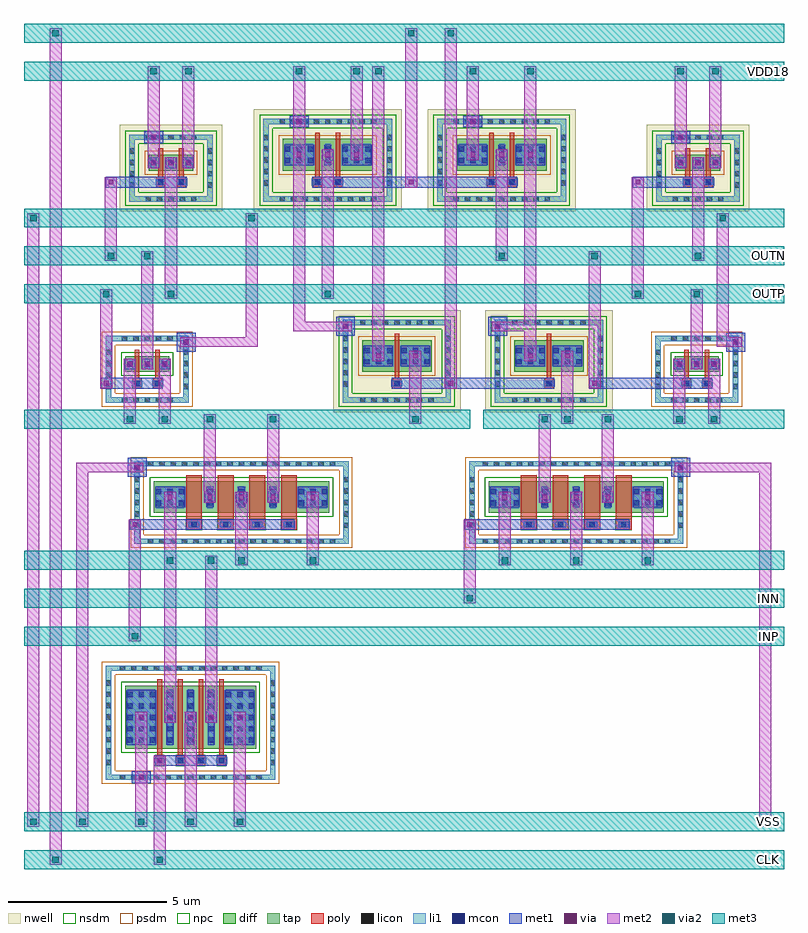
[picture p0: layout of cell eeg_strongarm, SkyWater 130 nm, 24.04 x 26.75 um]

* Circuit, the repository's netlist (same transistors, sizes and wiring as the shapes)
* Extracted by KLayout with SKY130 LVS runset on : 05/09/2026 16:00

.SUBCKT eeg_strongarm CLK INN INP OUTN OUTP VDD18 VSS
M$1 VDD18 CLK OUTP VDD18 sky130_fd_pr__pfet_01v8 L=0.15 W=2 AS=1.27 AD=1.27
+ PS=5.54 PD=5.54
M$3 VDD18 CLK \$9 VDD18 sky130_fd_pr__pfet_01v8 L=0.15 W=1 AS=1.02 AD=1.02
+ PS=4.04 PD=4.04
M$4 VDD18 CLK OUTN VDD18 sky130_fd_pr__pfet_01v8 L=0.15 W=2 AS=1.27 AD=1.27
+ PS=5.54 PD=5.54
M$6 VDD18 OUTP OUTN VDD18 sky130_fd_pr__pfet_01v8 L=0.15 W=1 AS=0.275 AD=0.275
+ PS=2.6 PD=2.6
M$8 VDD18 OUTN OUTP VDD18 sky130_fd_pr__pfet_01v8 L=0.15 W=1 AS=0.275 AD=0.275
+ PS=2.6 PD=2.6
M$10 VDD18 CLK \$10 VDD18 sky130_fd_pr__pfet_01v8 L=0.15 W=1 AS=1.02 AD=1.02
+ PS=4.04 PD=4.04
M$11 \$10 OUTN OUTP VSS sky130_fd_pr__nfet_01v8 L=0.15 W=1 AS=0.275 AD=0.275
+ PS=2.6 PD=2.6
M$13 \$4 INP \$9 VSS sky130_fd_pr__nfet_01v8 L=0.5 W=4 AS=1.77 AD=1.77 PS=8.54
+ PD=8.54
M$17 \$9 OUTP OUTN VSS sky130_fd_pr__nfet_01v8 L=0.15 W=1 AS=0.275 AD=0.275
+ PS=2.6 PD=2.6
M$19 \$4 INN \$10 VSS sky130_fd_pr__nfet_01v8 L=0.5 W=4 AS=1.77 AD=1.77 PS=8.54
+ PD=8.54
M$23 VSS CLK \$4 VSS sky130_fd_pr__nfet_01v8 L=0.15 W=8 AS=3.54 AD=3.54
+ PS=13.54 PD=13.54
.ENDS eeg_strongarm

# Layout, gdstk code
import gdstk
lib = gdstk.Library(unit=1e-6, precision=1e-09)
def R(c, l, rs):  # rectangles x0, y0, x1, y1
    for r in rs: c.add(gdstk.rectangle(r[:2], r[2:], *l))
def A(c, l, x, y, w, h, nx, ny, dx, dy):  # array of equal rectangles
    R(c, l, [(x+i*dx, y+j*dy, x+i*dx+w, y+j*dy+h) for i in range(nx) for j in range(ny)])
def P(c, l, *ps):  # polygons
    for p in ps: c.add(gdstk.Polygon(p, *l))
nwell = (64, 20)
diff = (65, 20)
tap = (65, 44)
poly = (66, 20)
licon = (66, 44)
li1 = (67, 20)
mcon = (67, 44)
met1 = (68, 20)
via = (68, 44)
met2 = (69, 20)
via2 = (69, 44)
met3 = (70, 20)
nsdm = (93, 44)
psdm = (94, 20)
npc = (95, 20)

sa_m0 = lib.new_cell('sa_m0')
R(sa_m0, diff, [(0,0,4.14,2)])
P(sa_m0, tap, [(-0.615,-0.98),(-0.615,2.47),(-0.445,2.47),(-0.445,-0.81),(4.585,-0.81),(4.585,2.47),(-0.615,2.47),(-0.615,2.64),(4.755,2.64),(4.755,-0.98)])
A(sa_m0, poly, 0.96, -0.53, 0.27, 0.33, 4, 1, 0.65, 0)
A(sa_m0, poly, 1.02, -0.2, 0.15, 2.4, 4, 1, 0.65, 0)
A(sa_m0, licon, -0.175, -0.98, 0.17, 0.17, 13, 2, 0.36, 3.45)
A(sa_m0, licon, -0.615, -0.515, 0.17, 0.17, 1, 8, 0, 0.36)
A(sa_m0, licon, 4.585, -0.515, 0.17, 0.17, 1, 8, 0, 0.36)
A(sa_m0, licon, 1.01, -0.45, 0.17, 0.17, 4, 1, 0.65, 0)
A(sa_m0, licon, 0.065, 0.195, 0.17, 0.17, 3, 5, 0.36, 0.36)
A(sa_m0, licon, 1.335, 0.195, 0.17, 0.17, 3, 5, 0.65, 0.36)
A(sa_m0, licon, 3.185, 0.195, 0.17, 0.17, 3, 5, 0.36, 0.36)
A(sa_m0, li1, 0.93, -0.45, 0.33, 0.17, 4, 1, 0.65, 0)
A(sa_m0, li1, 1.335, 0.115, 0.17, 1.77, 3, 1, 0.65, 0)
R(sa_m0, li1, [(0.065,0.115,0.955,1.885), (3.185,0.115,4.075,1.885)])
P(sa_m0, li1, [(-0.615,-0.98),(-0.615,2.47),(-0.445,2.47),(-0.445,-0.81),(4.585,-0.81),(4.585,2.47),(-0.615,2.47),(-0.615,2.64),(4.755,2.64),(4.755,-0.98)])
A(sa_m0, mcon, 1.01, -0.45, 0.17, 0.17, 4, 1, 0.65, 0)
A(sa_m0, mcon, 0.065, 0.195, 0.17, 0.17, 3, 5, 0.36, 0.36)
A(sa_m0, mcon, 1.335, 0.195, 0.17, 0.17, 3, 5, 0.65, 0.36)
A(sa_m0, mcon, 3.185, 0.195, 0.17, 0.17, 3, 5, 0.36, 0.36)
A(sa_m0, met1, 0.91, -0.48, 0.37, 0.23, 4, 1, 0.65, 0)
A(sa_m0, met1, 1.305, 0.135, 0.23, 1.73, 3, 1, 0.65, 0)
R(sa_m0, met1, [(0.035,0.135,0.985,1.865), (3.155,0.135,4.105,1.865)])
R(sa_m0, nsdm, [(-0.125,-0.125,4.265,2.125)])
P(sa_m0, psdm, [(-0.74,-1.105),(-0.74,2.345),(-0.32,2.345),(-0.32,-0.685),(4.46,-0.685),(4.46,2.345),(-0.74,2.345),(-0.74,2.765),(4.88,2.765),(4.88,-1.105)])
A(sa_m0, npc, 0.95, -0.54, 0.29, 0.35, 4, 1, 0.65, 0)

sa_m1 = lib.new_cell('sa_m1')
R(sa_m1, diff, [(0,0,5.54,1)])
P(sa_m1, tap, [(-0.615,-0.98),(-0.615,1.47),(-0.445,1.47),(-0.445,-0.81),(5.985,-0.81),(5.985,1.47),(-0.615,1.47),(-0.615,1.64),(6.155,1.64),(6.155,-0.98)])
A(sa_m1, poly, 1.02, -0.53, 0.5, 0.33, 4, 1, 1, 0)
A(sa_m1, poly, 1.02, -0.2, 0.5, 1.4, 4, 1, 1, 0)
A(sa_m1, licon, -0.195, -0.98, 0.17, 0.17, 17, 2, 0.36, 2.45)
A(sa_m1, licon, -0.615, -0.475, 0.17, 0.17, 1, 5, 0, 0.36)
A(sa_m1, licon, 5.985, -0.475, 0.17, 0.17, 1, 5, 0, 0.36)
A(sa_m1, licon, 1.185, -0.45, 0.17, 0.17, 4, 1, 1, 0)
A(sa_m1, licon, 0.065, 0.235, 0.17, 0.17, 3, 2, 0.36, 0.36)
A(sa_m1, licon, 1.685, 0.235, 0.17, 0.17, 3, 2, 1, 0.36)
A(sa_m1, licon, 4.585, 0.235, 0.17, 0.17, 3, 2, 0.36, 0.36)
A(sa_m1, li1, 1.105, -0.45, 0.33, 0.17, 4, 1, 1, 0)
A(sa_m1, li1, 1.685, 0.155, 0.17, 0.69, 3, 1, 1, 0)
R(sa_m1, li1, [(0.065,0.155,0.955,0.845), (4.585,0.155,5.475,0.845)])
P(sa_m1, li1, [(-0.615,-0.98),(-0.615,1.47),(-0.445,1.47),(-0.445,-0.81),(5.985,-0.81),(5.985,1.47),(-0.615,1.47),(-0.615,1.64),(6.155,1.64),(6.155,-0.98)])
A(sa_m1, mcon, 1.185, -0.45, 0.17, 0.17, 4, 1, 1, 0)
A(sa_m1, mcon, 0.065, 0.235, 0.17, 0.17, 3, 2, 0.36, 0.36)
A(sa_m1, mcon, 1.685, 0.235, 0.17, 0.17, 3, 2, 1, 0.36)
A(sa_m1, mcon, 4.585, 0.235, 0.17, 0.17, 3, 2, 0.36, 0.36)
A(sa_m1, met1, 1.085, -0.48, 0.37, 0.23, 4, 1, 1, 0)
A(sa_m1, met1, 1.655, 0.175, 0.23, 0.65, 3, 1, 1, 0)
R(sa_m1, met1, [(0.035,0.175,0.985,0.825), (4.555,0.175,5.505,0.825)])
R(sa_m1, nsdm, [(-0.125,-0.125,5.665,1.125)])
P(sa_m1, psdm, [(-0.74,-1.105),(-0.74,1.345),(-0.32,1.345),(-0.32,-0.685),(5.86,-0.685),(5.86,1.345),(-0.74,1.345),(-0.74,1.765),(6.28,1.765),(6.28,-1.105)])
A(sa_m1, npc, 1.01, -0.54, 0.52, 0.35, 4, 1, 1, 0)

sa_m5 = lib.new_cell('sa_m5')
R(sa_m5, nwell, [(-0.92,-1.285,2.32,1.445)])
R(sa_m5, diff, [(0,0,1.4,0.5)])
P(sa_m5, tap, [(-0.615,-0.98),(-0.615,0.97),(-0.445,0.97),(-0.445,-0.81),(1.845,-0.81),(1.845,0.97),(-0.615,0.97),(-0.615,1.14),(2.015,1.14),(2.015,-0.98)])
R(sa_m5, poly, [(0.24,-0.53,0.51,-0.2), (0.89,-0.53,1.16,-0.2), (0.3,-0.2,0.45,0.7), (0.95,-0.2,1.1,0.7)])
A(sa_m5, licon, -0.105, -0.98, 0.17, 0.17, 5, 2, 0.36, 1.95)
A(sa_m5, licon, -0.615, -0.545, 0.17, 0.17, 1, 4, 0, 0.36)
A(sa_m5, licon, 1.845, -0.545, 0.17, 0.17, 1, 4, 0, 0.36)
A(sa_m5, licon, 0.065, 0.165, 0.17, 0.17, 3, 1, 0.55, 0)
R(sa_m5, licon, [(0.29,-0.45,0.46,-0.28), (0.94,-0.45,1.11,-0.28)])
A(sa_m5, li1, 0.065, 0.085, 0.17, 0.33, 3, 1, 0.55, 0)
R(sa_m5, li1, [(0.21,-0.45,0.54,-0.28), (0.86,-0.45,1.19,-0.28)])
P(sa_m5, li1, [(-0.615,-0.98),(-0.615,0.97),(-0.445,0.97),(-0.445,-0.81),(1.845,-0.81),(1.845,0.97),(-0.615,0.97),(-0.615,1.14),(2.015,1.14),(2.015,-0.98)])
A(sa_m5, mcon, 0.065, 0.165, 0.17, 0.17, 3, 1, 0.55, 0)
R(sa_m5, mcon, [(0.29,-0.45,0.46,-0.28), (0.94,-0.45,1.11,-0.28)])
A(sa_m5, met1, 0.005, 0.105, 0.29, 0.29, 3, 1, 0.55, 0)
R(sa_m5, met1, [(0.19,-0.48,0.56,-0.25), (0.84,-0.48,1.21,-0.25)])
P(sa_m5, nsdm, [(-0.74,-1.105),(-0.74,0.845),(-0.32,0.845),(-0.32,-0.685),(1.72,-0.685),(1.72,0.845),(-0.74,0.845),(-0.74,1.265),(2.14,1.265),(2.14,-1.105)])
R(sa_m5, psdm, [(-0.125,-0.125,1.525,0.625)])
R(sa_m5, npc, [(0.23,-0.54,0.52,-0.19), (0.88,-0.54,1.17,-0.19)])

sa_m7 = lib.new_cell('sa_m7')
R(sa_m7, nwell, [(-0.92,-1.285,3.76,1.945)])
R(sa_m7, diff, [(0,0,2.84,1)])
P(sa_m7, tap, [(-0.615,-0.98),(-0.615,1.47),(-0.445,1.47),(-0.445,-0.81),(3.285,-0.81),(3.285,1.47),(-0.615,1.47),(-0.615,1.64),(3.455,1.64),(3.455,-0.98)])
R(sa_m7, poly, [(0.96,-0.53,1.23,-0.2), (1.61,-0.53,1.88,-0.2), (1.02,-0.2,1.17,1.2), (1.67,-0.2,1.82,1.2)])
A(sa_m7, licon, -0.105, -0.98, 0.17, 0.17, 9, 2, 0.36, 2.45)
A(sa_m7, licon, -0.615, -0.475, 0.17, 0.17, 1, 5, 0, 0.36)
A(sa_m7, licon, 3.285, -0.475, 0.17, 0.17, 1, 5, 0, 0.36)
A(sa_m7, licon, 0.065, 0.235, 0.17, 0.17, 3, 2, 0.36, 0.36)
A(sa_m7, licon, 1.885, 0.235, 0.17, 0.17, 3, 2, 0.36, 0.36)
R(sa_m7, licon, [(1.01,-0.45,1.18,-0.28), (1.66,-0.45,1.83,-0.28), (1.335,0.235,1.505,0.405), (1.335,0.595,1.505,0.765)])
R(sa_m7, li1, [(0.93,-0.45,1.26,-0.28), (1.58,-0.45,1.91,-0.28), (0.065,0.155,0.955,0.845), (1.335,0.155,1.505,0.845), (1.885,0.155,2.775,0.845)])
P(sa_m7, li1, [(-0.615,-0.98),(-0.615,1.47),(-0.445,1.47),(-0.445,-0.81),(3.285,-0.81),(3.285,1.47),(-0.615,1.47),(-0.615,1.64),(3.455,1.64),(3.455,-0.98)])
A(sa_m7, mcon, 0.065, 0.235, 0.17, 0.17, 3, 2, 0.36, 0.36)
A(sa_m7, mcon, 1.885, 0.235, 0.17, 0.17, 3, 2, 0.36, 0.36)
R(sa_m7, mcon, [(1.01,-0.45,1.18,-0.28), (1.66,-0.45,1.83,-0.28), (1.335,0.235,1.505,0.405), (1.335,0.595,1.505,0.765)])
R(sa_m7, met1, [(0.91,-0.48,1.28,-0.25), (1.56,-0.48,1.93,-0.25), (0.035,0.175,0.985,0.825), (1.305,0.175,1.535,0.825), (1.855,0.175,2.805,0.825)])
P(sa_m7, nsdm, [(-0.74,-1.105),(-0.74,1.345),(-0.32,1.345),(-0.32,-0.685),(3.16,-0.685),(3.16,1.345),(-0.74,1.345),(-0.74,1.765),(3.58,1.765),(3.58,-1.105)])
R(sa_m7, psdm, [(-0.125,-0.125,2.965,1.125)])
R(sa_m7, npc, [(0.95,-0.54,1.24,-0.19), (1.6,-0.54,1.89,-0.19)])

sa_m3 = lib.new_cell('sa_m3')
R(sa_m3, diff, [(0,0,1.4,0.5)])
P(sa_m3, tap, [(-0.615,-0.98),(-0.615,0.97),(-0.445,0.97),(-0.445,-0.81),(1.845,-0.81),(1.845,0.97),(-0.615,0.97),(-0.615,1.14),(2.015,1.14),(2.015,-0.98)])
R(sa_m3, poly, [(0.24,-0.53,0.51,-0.2), (0.89,-0.53,1.16,-0.2), (0.3,-0.2,0.45,0.7), (0.95,-0.2,1.1,0.7)])
A(sa_m3, licon, -0.105, -0.98, 0.17, 0.17, 5, 2, 0.36, 1.95)
A(sa_m3, licon, -0.615, -0.545, 0.17, 0.17, 1, 4, 0, 0.36)
A(sa_m3, licon, 1.845, -0.545, 0.17, 0.17, 1, 4, 0, 0.36)
A(sa_m3, licon, 0.065, 0.165, 0.17, 0.17, 3, 1, 0.55, 0)
R(sa_m3, licon, [(0.29,-0.45,0.46,-0.28), (0.94,-0.45,1.11,-0.28)])
A(sa_m3, li1, 0.065, 0.085, 0.17, 0.33, 3, 1, 0.55, 0)
R(sa_m3, li1, [(0.21,-0.45,0.54,-0.28), (0.86,-0.45,1.19,-0.28)])
P(sa_m3, li1, [(-0.615,-0.98),(-0.615,0.97),(-0.445,0.97),(-0.445,-0.81),(1.845,-0.81),(1.845,0.97),(-0.615,0.97),(-0.615,1.14),(2.015,1.14),(2.015,-0.98)])
A(sa_m3, mcon, 0.065, 0.165, 0.17, 0.17, 3, 1, 0.55, 0)
R(sa_m3, mcon, [(0.29,-0.45,0.46,-0.28), (0.94,-0.45,1.11,-0.28)])
A(sa_m3, met1, 0.005, 0.105, 0.29, 0.29, 3, 1, 0.55, 0)
R(sa_m3, met1, [(0.19,-0.48,0.56,-0.25), (0.84,-0.48,1.21,-0.25)])
R(sa_m3, nsdm, [(-0.125,-0.125,1.525,0.625)])
P(sa_m3, psdm, [(-0.74,-1.105),(-0.74,0.845),(-0.32,0.845),(-0.32,-0.685),(1.72,-0.685),(1.72,0.845),(-0.74,0.845),(-0.74,1.265),(2.14,1.265),(2.14,-1.105)])
R(sa_m3, npc, [(0.23,-0.54,0.52,-0.19), (0.88,-0.54,1.17,-0.19)])

sa_m9 = lib.new_cell('sa_m9')
R(sa_m9, nwell, [(-0.92,-1.285,3.11,1.945)])
R(sa_m9, diff, [(0,0,2.19,1)])
P(sa_m9, tap, [(-0.615,-0.98),(-0.615,1.47),(-0.445,1.47),(-0.445,-0.81),(2.635,-0.81),(2.635,1.47),(-0.615,1.47),(-0.615,1.64),(2.805,1.64),(2.805,-0.98)])
R(sa_m9, poly, [(0.96,-0.53,1.23,-0.2), (1.02,-0.2,1.17,1.2)])
A(sa_m9, licon, -0.07, -0.98, 0.17, 0.17, 7, 2, 0.36, 2.45)
A(sa_m9, licon, -0.615, -0.475, 0.17, 0.17, 1, 5, 0, 0.36)
A(sa_m9, licon, 2.635, -0.475, 0.17, 0.17, 1, 5, 0, 0.36)
A(sa_m9, licon, 0.065, 0.235, 0.17, 0.17, 3, 2, 0.36, 0.36)
A(sa_m9, licon, 1.235, 0.235, 0.17, 0.17, 3, 2, 0.36, 0.36)
R(sa_m9, licon, [(1.01,-0.45,1.18,-0.28)])
R(sa_m9, li1, [(0.93,-0.45,1.26,-0.28), (0.065,0.155,0.955,0.845), (1.235,0.155,2.125,0.845)])
P(sa_m9, li1, [(-0.615,-0.98),(-0.615,1.47),(-0.445,1.47),(-0.445,-0.81),(2.635,-0.81),(2.635,1.47),(-0.615,1.47),(-0.615,1.64),(2.805,1.64),(2.805,-0.98)])
A(sa_m9, mcon, 0.065, 0.235, 0.17, 0.17, 3, 2, 0.36, 0.36)
A(sa_m9, mcon, 1.235, 0.235, 0.17, 0.17, 3, 2, 0.36, 0.36)
R(sa_m9, mcon, [(1.01,-0.45,1.18,-0.28)])
R(sa_m9, met1, [(0.91,-0.48,1.28,-0.25), (0.035,0.175,0.985,0.825), (1.205,0.175,2.155,0.825)])
P(sa_m9, nsdm, [(-0.74,-1.105),(-0.74,1.345),(-0.32,1.345),(-0.32,-0.685),(2.51,-0.685),(2.51,1.345),(-0.74,1.345),(-0.74,1.765),(2.93,1.765),(2.93,-1.105)])
R(sa_m9, psdm, [(-0.125,-0.125,2.315,1.125)])
R(sa_m9, npc, [(0.95,-0.54,1.24,-0.19)])

eeg_strongarm = lib.new_cell('eeg_strongarm')
R(eeg_strongarm, mcon, [(0.425,-0.98,0.595,-0.81), (0.295,8.82,0.465,8.99), (17.485,8.82,17.655,8.99), (1.845,12.785,2.015,12.955), (19.225,12.785,19.395,12.955), (6.885,13.285,7.055,13.455), (11.695,13.285,11.865,13.455), (0.815,19.265,0.985,19.435), (17.485,19.265,17.655,19.435), (5.415,19.765,5.585,19.935), (10.915,19.765,11.085,19.935)])
A(eeg_strongarm, met1, 1.25, 0.83, 0.34, 0.34, 3, 1, 0.65, 0)
A(eeg_strongarm, met1, 2.51, 7.795, 0.34, 0.34, 3, 1, 1, 0)
A(eeg_strongarm, met1, 13.1, 7.795, 0.34, 0.34, 3, 1, 1, 0)
A(eeg_strongarm, met1, -0.02, 12.01, 0.34, 0.34, 3, 1, 0.55, 0)
A(eeg_strongarm, met1, 17.36, 12.01, 0.34, 0.34, 3, 1, 0.55, 0)
A(eeg_strongarm, met1, 0.73, 18.375, 0.34, 0.34, 3, 1, 0.55, 0)
A(eeg_strongarm, met1, 17.4, 18.375, 0.34, 0.34, 3, 1, 0.55, 0)
A(eeg_strongarm, met1, 5.33, 18.625, 0.34, 0.34, 3, 1, 0.91, 0)
A(eeg_strongarm, met1, 10.83, 18.625, 0.34, 0.34, 3, 1, 0.91, 0)
R(eeg_strongarm, met1, [(0.21,-1.08,0.81,-0.71), (0.34,-1.065,0.68,-0.725), (0.925,-0.535,3.215,-0.195), (0.34,0.83,0.68,1.17), (3.46,0.83,3.8,1.17), (0.14,6.93,5.35,7.27), (10.73,6.93,15.94,7.27), (1.25,7.795,1.59,8.135), (5.77,7.795,6.11,8.135), (11.84,7.795,12.18,8.135), (16.36,7.795,16.7,8.135), (0.08,8.605,0.68,9.205), (17.27,8.605,17.87,9.205), (-0.77,11.395,1.195,11.735), (8.425,11.395,10.47,11.735), (10.13,11.395,13.575,11.735), (14.68,11.395,18.575,11.735), (7.84,12.26,8.18,12.6), (9.01,12.26,9.35,12.6), (12.65,12.26,12.99,12.6), (13.82,12.26,14.16,12.6), (1.63,12.57,2.23,13.17), (19.01,12.57,19.61,13.17), (6.67,13.07,7.27,13.67), (11.48,13.07,12.08,13.67), (-0.62,17.76,1.945,18.1), (5.915,17.76,9.22,18.1), (8.88,17.76,12.405,18.1), (16.05,17.76,18.615,18.1), (0.6,19.165,1.2,19.535), (17.27,19.165,17.87,19.535), (0.73,19.18,1.07,19.52), (17.4,19.18,17.74,19.52), (5.2,19.665,5.8,20.035), (10.7,19.665,11.3,20.035), (5.33,19.68,5.67,20.02), (10.83,19.68,11.17,20.02)])
A(eeg_strongarm, via, 1.345, 0.925, 0.15, 0.15, 3, 1, 0.65, 0)
A(eeg_strongarm, via, 2.605, 7.89, 0.15, 0.15, 3, 1, 1, 0)
A(eeg_strongarm, via, 13.195, 7.89, 0.15, 0.15, 3, 1, 1, 0)
A(eeg_strongarm, via, 0.075, 12.105, 0.15, 0.15, 3, 1, 0.55, 0)
A(eeg_strongarm, via, 17.455, 12.105, 0.15, 0.15, 3, 1, 0.55, 0)
A(eeg_strongarm, via, 0.825, 18.47, 0.15, 0.15, 3, 1, 0.55, 0)
A(eeg_strongarm, via, 17.495, 18.47, 0.15, 0.15, 3, 1, 0.55, 0)
A(eeg_strongarm, via, 5.425, 18.72, 0.15, 0.15, 3, 1, 0.91, 0)
A(eeg_strongarm, via, 10.925, 18.72, 0.15, 0.15, 3, 1, 0.91, 0)
R(eeg_strongarm, via, [(0.435,-0.97,0.585,-0.82), (1.02,-0.44,1.17,-0.29), (0.435,0.925,0.585,1.075), (3.555,0.925,3.705,1.075), (0.235,7.025,0.385,7.175), (10.825,7.025,10.975,7.175), (1.345,7.89,1.495,8.04), (5.865,7.89,6.015,8.04), (11.935,7.89,12.085,8.04), (16.455,7.89,16.605,8.04), (0.305,8.83,0.455,8.98), (17.495,8.83,17.645,8.98), (-0.675,11.49,-0.525,11.64), (10.225,11.49,10.375,11.64), (10.225,11.49,10.375,11.64), (14.775,11.49,14.925,11.64), (7.935,12.355,8.085,12.505), (9.105,12.355,9.255,12.505), (12.745,12.355,12.895,12.505), (13.915,12.355,14.065,12.505), (1.855,12.795,2.005,12.945), (19.235,12.795,19.385,12.945), (6.895,13.295,7.045,13.445), (11.705,13.295,11.855,13.445), (-0.525,17.855,-0.375,18.005), (8.975,17.855,9.125,18.005), (8.975,17.855,9.125,18.005), (16.145,17.855,16.295,18.005), (0.825,19.275,0.975,19.425), (17.495,19.275,17.645,19.425), (5.425,19.775,5.575,19.925), (10.925,19.775,11.075,19.925)])
A(eeg_strongarm, met2, 0.32, -2.455, 0.38, 3.625, 3, 1, 1.56, 0)
A(eeg_strongarm, met2, 1.23, 5.815, 0.38, 2.32, 3, 1, 2.26, 0)
A(eeg_strongarm, met2, 11.82, 5.815, 0.38, 2.32, 3, 1, 2.26, 0)
R(eeg_strongarm, met2, [(-2.39,-3.655,-2.01,22.79), (0.905,-3.655,1.285,-0.215), (-3.09,-2.455,-2.71,16.945), (-1.54,-2.455,-1.16,9.055), (0.32,-2.455,0.7,-0.725), (20.05,-2.455,20.43,9.055), (1.23,0.83,1.61,6.115), (2.53,0.83,2.91,6.115), (0.12,3.415,0.5,7.25), (10.71,4.615,11.09,7.25), (2.49,7.795,2.87,10.58), (4.49,7.795,4.87,10.58), (13.08,7.795,13.46,10.58), (15.08,7.795,15.46,10.58), (-1.54,8.755,0.57,9.055), (17.38,8.755,20.43,9.055), (-0.04,10.28,0.34,12.35), (1.06,10.28,1.44,12.35), (8.99,10.28,9.37,12.6), (13.8,10.28,14.18,12.6), (17.34,10.28,17.72,12.35), (18.44,10.28,18.82,12.35), (10.11,11.395,10.49,22.79), (-0.79,11.415,-0.41,14.545), (14.66,11.415,15.04,15.745), (0.51,12.01,0.89,15.745), (17.89,12.01,18.27,14.545), (7.82,12.26,8.2,21.59), (12.63,12.26,13.01,21.59), (1.74,12.72,4.19,13.02), (3.81,12.72,4.19,16.945), (18.71,12.72,19.09,16.945), (18.71,12.72,19.5,13.02), (5.31,13.22,7.16,13.52), (5.31,13.22,5.69,21.59), (11.59,13.22,13.01,13.52), (12.63,13.22,13.01,21.59), (1.26,14.245,1.64,18.715), (6.22,14.245,6.6,18.965), (16.03,14.245,16.41,18.08), (-0.64,15.445,-0.26,18.08), (11.72,15.445,12.1,18.965), (17.93,15.445,18.31,18.715), (8.86,17.76,9.24,22.79), (0.71,18.375,1.09,21.59), (1.81,18.375,2.19,21.59), (17.38,18.375,17.76,21.59), (18.48,18.375,18.86,21.59), (5.31,18.625,5.69,21.59), (7.13,18.625,7.51,21.59), (10.81,18.625,11.19,21.59), (12.63,18.625,13.01,21.59), (0.71,19.18,1.09,21.59), (17.38,19.18,17.76,21.59), (5.31,19.68,5.69,21.59), (10.81,19.68,11.19,21.59)])
A(eeg_strongarm, via2, 0.41, -2.405, 0.2, 0.2, 3, 1, 1.56, 0)
A(eeg_strongarm, via2, 11.91, 5.865, 0.2, 0.2, 3, 1, 2.26, 0)
R(eeg_strongarm, via2, [(-2.3,-3.605,-2.1,-3.405), (0.995,-3.605,1.195,-3.405), (-3,-2.405,-2.8,-2.205), (-1.45,-2.405,-1.25,-2.205), (0.41,-2.405,0.61,-2.205), (20.14,-2.405,20.34,-2.205), (0.21,3.465,0.41,3.665), (10.8,4.665,11,4.865), (1.32,5.865,1.52,6.065), (1.32,5.865,1.52,6.065), (2.62,5.865,2.82,6.065), (3.58,5.865,3.78,6.065), (5.84,5.865,6.04,6.065), (0.05,10.33,0.25,10.53), (1.15,10.33,1.35,10.53), (2.58,10.33,2.78,10.53), (4.58,10.33,4.78,10.53), (9.08,10.33,9.28,10.53), (13.17,10.33,13.37,10.53), (13.89,10.33,14.09,10.53), (15.17,10.33,15.37,10.53), (17.43,10.33,17.63,10.53), (18.53,10.33,18.73,10.53), (-0.7,14.295,-0.5,14.495), (1.35,14.295,1.55,14.495), (6.31,14.295,6.51,14.495), (16.12,14.295,16.32,14.495), (17.98,14.295,18.18,14.495), (-0.55,15.495,-0.35,15.695), (0.6,15.495,0.8,15.695), (11.81,15.495,12.01,15.695), (14.75,15.495,14.95,15.695), (18.02,15.495,18.22,15.695), (-3,16.695,-2.8,16.895), (3.9,16.695,4.1,16.895), (18.8,16.695,19,16.895), (0.8,21.34,1,21.54), (0.8,21.34,1,21.54), (1.9,21.34,2.1,21.54), (5.4,21.34,5.6,21.54), (5.4,21.34,5.6,21.54), (5.4,21.34,5.6,21.54), (7.22,21.34,7.42,21.54), (7.91,21.34,8.11,21.54), (10.9,21.34,11.1,21.54), (10.9,21.34,11.1,21.54), (12.72,21.34,12.92,21.54), (12.72,21.34,12.92,21.54), (12.72,21.34,12.92,21.54), (17.47,21.34,17.67,21.54), (17.47,21.34,17.67,21.54), (18.57,21.34,18.77,21.54), (-2.3,22.54,-2.1,22.74), (8.95,22.54,9.15,22.74), (10.2,22.54,10.4,22.74)])
A(eeg_strongarm, met3, -3.2, 3.265, 24.04, 0.6, 1, 3, 0, 1.2)
A(eeg_strongarm, met3, -3.2, 14.095, 24.04, 0.6, 1, 3, 0, 1.2)
R(eeg_strongarm, met3, [(-3.2,-3.805,20.84,-3.205), (-3.2,-2.605,20.84,-2.005), (-3.2,10.13,10.91,10.73), (11.32,10.13,20.84,10.73), (-3.2,21.14,20.84,21.74), (-3.2,22.34,20.84,22.94)])
eeg_strongarm.add(gdstk.Reference(sa_m0, (0,0)))
eeg_strongarm.add(gdstk.Reference(sa_m1, (0.91,7.465)))
eeg_strongarm.add(gdstk.Reference(sa_m1, (11.5,7.465)))
eeg_strongarm.add(gdstk.Reference(sa_m5, (0.75,18.295)))
eeg_strongarm.add(gdstk.Reference(sa_m7, (4.99,18.295)))
eeg_strongarm.add(gdstk.Reference(sa_m7, (10.49,18.295)))
eeg_strongarm.add(gdstk.Reference(sa_m5, (17.42,18.295)))
eeg_strongarm.add(gdstk.Reference(sa_m3, (0,11.93)))
eeg_strongarm.add(gdstk.Reference(sa_m9, (7.5,11.93)))
eeg_strongarm.add(gdstk.Reference(sa_m9, (12.31,11.93)))
eeg_strongarm.add(gdstk.Reference(sa_m3, (17.38,11.93)))
eeg_strongarm.add(gdstk.Label('INP', (20.34,3.565), layer=70, texttype=5))
eeg_strongarm.add(gdstk.Label('INN', (20.34,4.765), layer=70, texttype=5))
eeg_strongarm.add(gdstk.Label('CLK', (20.34,-3.505), layer=70, texttype=5))
eeg_strongarm.add(gdstk.Label('VSS', (20.34,-2.305), layer=70, texttype=5))
eeg_strongarm.add(gdstk.Label('OUTP', (20.34,14.395), layer=70, texttype=5))
eeg_strongarm.add(gdstk.Label('OUTN', (20.34,15.595), layer=70, texttype=5))
eeg_strongarm.add(gdstk.Label('VDD18', (20.34,21.44), layer=70, texttype=5))

lib.write_gds('eeg_strongarm.gds')
